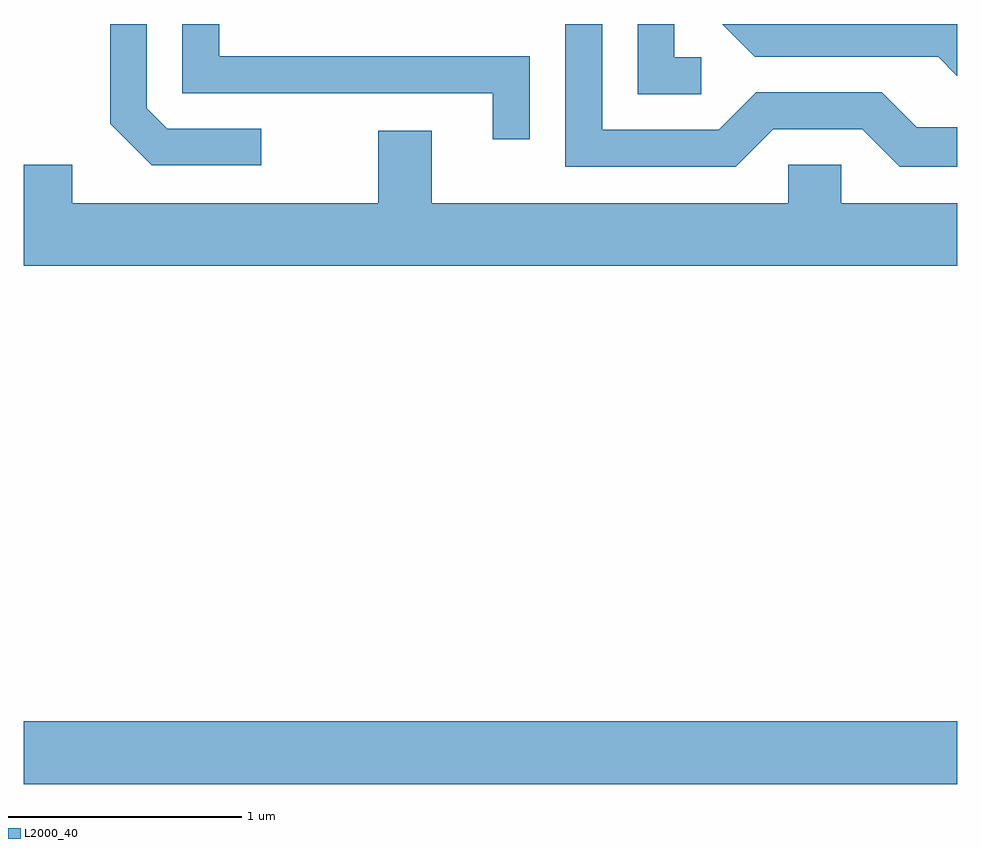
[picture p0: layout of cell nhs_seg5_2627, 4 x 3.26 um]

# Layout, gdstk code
import gdstk
lib = gdstk.Library(unit=1e-6, precision=1e-09)
def R(c, l, rs):  # rectangles x0, y0, x1, y1
    for r in rs: c.add(gdstk.rectangle(r[:2], r[2:], *l))
def P(c, l, *ps):  # polygons
    for p in ps: c.add(gdstk.Polygon(p, *l))
L2000_40 = (2000, 40)

nhs_seg5_2627 = lib.new_cell('nhs_seg5_2627')
R(nhs_seg5_2627, L2000_40, [(263.611,1436.816,267.611,1437.084)])
P(nhs_seg5_2627, L2000_40, [(266.822,1439.621),(267.204,1439.621),(267.364,1439.461),(267.611,1439.461),(267.611,1439.629),(267.437,1439.629),(267.287,1439.779),(266.749,1439.779),(266.589,1439.619),(266.089,1439.619),(266.089,1440.072),(265.931,1440.072),(265.931,1439.461),(266.662,1439.461)],
  [(266.513,1439.929),(266.399,1439.929),(266.399,1440.072),(266.241,1440.072),(266.241,1439.771),(266.513,1439.771)],
  [(267.611,1440.072),(266.603,1440.072),(266.744,1439.931),(267.529,1439.931),(267.609,1439.851),(267.611,1439.851)],
  [(264.628,1439.624),(264.227,1439.624),(264.139,1439.712),(264.139,1440.072),(263.981,1440.072),(263.981,1439.644),(264.159,1439.466),(264.628,1439.466)],
  [(265.779,1439.934),(264.449,1439.934),(264.449,1440.072),(264.291,1440.072),(264.291,1439.776),(265.621,1439.776),(265.621,1439.578),(265.779,1439.578)],
  [(267.611,1439.304),(267.114,1439.304),(267.114,1439.469),(266.886,1439.469),(266.886,1439.304),(265.359,1439.304),(265.359,1439.614),(265.131,1439.614),(265.131,1439.304),(263.819,1439.304),(263.819,1439.469),(263.611,1439.469),(263.611,1439.036),(267.611,1439.036)])

lib.write_gds('nhs_seg5_2627.gds')
